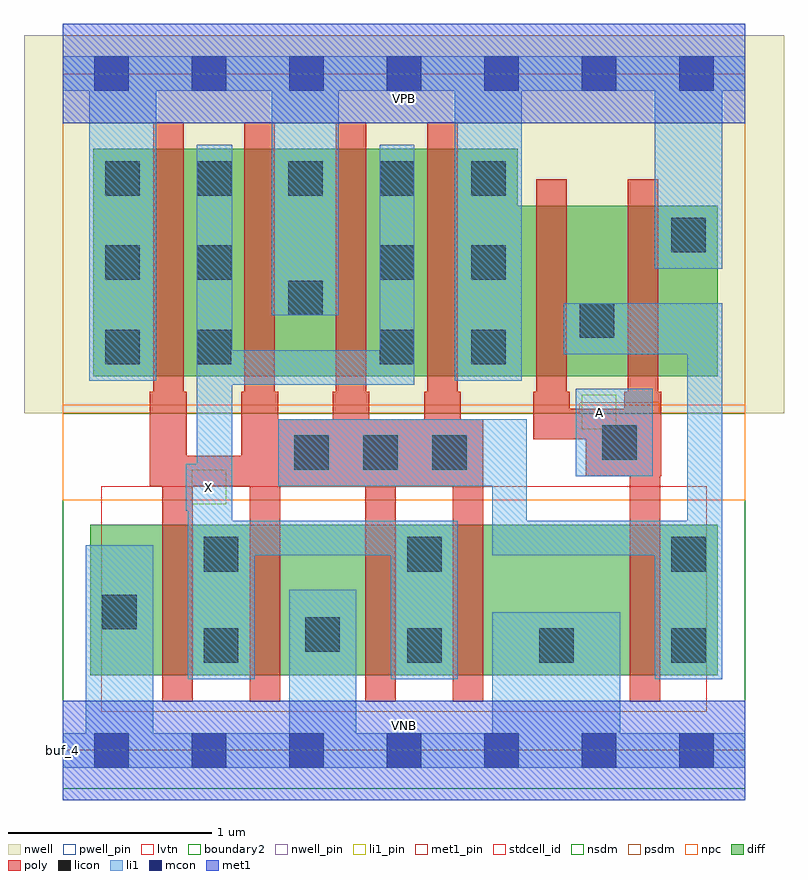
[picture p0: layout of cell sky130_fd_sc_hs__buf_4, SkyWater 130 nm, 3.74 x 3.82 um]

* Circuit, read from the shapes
.subckt sky130_fd_sc_hs__buf_4 A VGND VNB VPB VPWR X
XM1 X n1 VGND VNB sky130_fd_pr__nfet_01v8_lvt w=0.74 l=0.15 m=4
XM2 n1 A VGND VNB sky130_fd_pr__nfet_01v8_lvt w=0.74 l=0.15
XM3 X n1 VPWR VPB sky130_fd_pr__pfet_01v8 w=1.12 l=0.15 m=4
XM4 n1 A VPWR VPB sky130_fd_pr__pfet_01v8 w=0.84 l=0.15 m=2
.ends

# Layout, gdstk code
import gdstk
lib = gdstk.Library(unit=1e-6, precision=1e-09)
def R(c, l, rs):  # rectangles x0, y0, x1, y1
    for r in rs: c.add(gdstk.rectangle(r[:2], r[2:], *l))
def A(c, l, x, y, w, h, nx, ny, dx, dy):  # array of equal rectangles
    R(c, l, [(x+i*dx, y+j*dy, x+i*dx+w, y+j*dy+h) for i in range(nx) for j in range(ny)])
def P(c, l, *ps):  # polygons
    for p in ps: c.add(gdstk.Polygon(p, *l))
nwell_pin = (64, 16)
nwell = (64, 20)
diff = (65, 20)
poly = (66, 20)
licon = (66, 44)
li1_pin = (67, 16)
li1 = (67, 20)
mcon = (67, 44)
met1_pin = (68, 16)
met1 = (68, 20)
stdcell_id = (81, 4)
nsdm = (93, 44)
psdm = (94, 20)
npc = (95, 20)
pwell_pin = (122, 16)
lvtn = (125, 44)
boundary2 = (236, 0)

sky130_fd_sc_hs__buf_4 = lib.new_cell('sky130_fd_sc_hs__buf_4')
R(sky130_fd_sc_hs__buf_4, nwell_pin, [(0,3.085,3.36,3.33)])
R(sky130_fd_sc_hs__buf_4, nwell, [(-0.19,1.66,3.55,3.52)])
R(sky130_fd_sc_hs__buf_4, diff, [(0.135,0.37,3.225,1.11)])
P(sky130_fd_sc_hs__buf_4, diff, [(3.225,2.68),(2.24,2.68),(2.24,2.96),(0.15,2.96),(0.15,1.84),(3.225,1.84)])
P(sky130_fd_sc_hs__buf_4, poly, [(2.945,1.765),(2.93,1.765),(2.93,2.81),(2.78,2.81),(2.78,1.765),(2.765,1.765),(2.765,1.68),(2.495,1.68),(2.495,1.765),(2.48,1.765),(2.48,2.81),(2.33,2.81),(2.33,1.765),(2.315,1.765),(2.315,1.53),(2.575,1.53),(2.575,1.35),(2.79,1.35),(2.79,0.24),(2.94,0.24),(2.94,1.35),(2.945,1.35)],
  [(2.07,1.63),(1.96,1.63),(1.96,1.765),(1.945,1.765),(1.945,3.09),(1.795,3.09),(1.795,1.765),(1.78,1.765),(1.78,1.63),(1.51,1.63),(1.51,1.765),(1.495,1.765),(1.495,3.09),(1.345,3.09),(1.345,1.765),(1.33,1.765),(1.33,1.63),(1.06,1.63),(1.06,1.765),(1.045,1.765),(1.045,3.09),(0.895,3.09),(0.895,1.765),(0.88,1.765),(0.88,1.45),(0.61,1.45),(0.61,1.765),(0.595,1.765),(0.595,3.09),(0.445,3.09),(0.445,1.765),(0.43,1.765),(0.43,1.3),(0.49,1.3),(0.49,0.24),(0.64,0.24),(0.64,1.3),(0.92,1.3),(0.92,0.24),(1.07,0.24),(1.07,1.3),(1.49,1.3),(1.49,0.24),(1.64,0.24),(1.64,1.3),(1.92,1.3),(1.92,0.24),(2.07,0.24)])
A(sky130_fd_sc_hs__buf_4, licon, 1.695, 0.43, 0.17, 0.17, 3, 1, 0.65, 0)
A(sky130_fd_sc_hs__buf_4, licon, 1.14, 1.38, 0.17, 0.17, 3, 1, 0.34, 0)
A(sky130_fd_sc_hs__buf_4, licon, 0.21, 2.73, 0.17, 0.17, 5, 1, 0.45, 0)
R(sky130_fd_sc_hs__buf_4, licon, [(0.695,0.43,0.865,0.6), (1.195,0.485,1.365,0.655), (0.195,0.595,0.365,0.765), (0.695,0.88,0.865,1.05), (1.695,0.88,1.865,1.05), (2.995,0.88,3.165,1.05), (2.655,1.43,2.825,1.6), (0.21,1.9,0.38,2.07), (0.66,1.9,0.83,2.07), (1.56,1.9,1.73,2.07), (2.01,1.9,2.18,2.07), (2.545,2.03,2.715,2.2), (1.11,2.14,1.28,2.31), (0.21,2.315,0.38,2.485), (0.66,2.315,0.83,2.485), (1.56,2.315,1.73,2.485), (2.01,2.315,2.18,2.485), (2.995,2.45,3.165,2.62)])
R(sky130_fd_sc_hs__buf_4, li1_pin, [(0.635,1.21,0.805,1.38), (2.555,1.58,2.725,1.75)])
R(sky130_fd_sc_hs__buf_4, li1, [(2.525,1.35,2.905,1.78)])
P(sky130_fd_sc_hs__buf_4, li1, [(0,-0.085),(0,0.085),(0.115,0.085),(0.115,1.01),(0.445,1.01),(0.445,0.085),(1.115,0.085),(1.115,0.79),(1.445,0.79),(1.445,0.085),(2.115,0.085),(2.115,0.68),(2.745,0.68),(2.745,0.085),(3.36,0.085),(3.36,-0.085)],
  [(0,3.245),(0,3.415),(3.36,3.415),(3.36,3.245),(3.245,3.245),(3.245,2.37),(2.915,2.37),(2.915,3.245),(2.26,3.245),(2.26,1.82),(1.93,1.82),(1.93,3.245),(1.36,3.245),(1.36,2.14),(1.03,2.14),(1.03,3.245),(0.46,3.245),(0.46,1.82),(0.13,1.82),(0.13,3.245)],
  [(2.465,1.95),(2.465,2.2),(3.245,2.2),(3.245,0.35),(2.915,0.35),(2.915,0.96),(2.115,0.96),(2.115,1.3),(1.06,1.3),(1.06,1.63),(2.285,1.63),(2.285,1.13),(3.075,1.13),(3.075,1.95)],
  [(0.835,1.97),(1.56,1.97),(1.56,2.98),(1.73,2.98),(1.73,1.8),(0.835,1.8),(0.835,1.13),(1.945,1.13),(1.945,0.35),(1.615,0.35),(1.615,0.96),(0.945,0.96),(0.945,0.35),(0.615,0.35),(0.615,1.18),(0.605,1.18),(0.605,1.41),(0.66,1.41),(0.66,2.98),(0.835,2.98)])
A(sky130_fd_sc_hs__buf_4, mcon, 0.155, -0.085, 0.17, 0.17, 7, 2, 0.48, 3.33)
R(sky130_fd_sc_hs__buf_4, met1_pin, [(0,0,3.36,0.245), (0,3.085,3.36,3.33)])
R(sky130_fd_sc_hs__buf_4, met1, [(0,-0.245,3.36,0.245), (0,3.085,3.36,3.575)])
R(sky130_fd_sc_hs__buf_4, stdcell_id, [(0,0,3.36,3.33)])
R(sky130_fd_sc_hs__buf_4, nsdm, [(0,-0.19,3.36,1.66)])
P(sky130_fd_sc_hs__buf_4, psdm, [(3.36,3.52),(0,3.52),(0,1.66),(2.545,1.66),(2.545,1.71),(2.935,1.71),(2.935,1.66),(3.36,1.66)])
R(sky130_fd_sc_hs__buf_4, npc, [(0,1.23,3.36,1.7)])
R(sky130_fd_sc_hs__buf_4, pwell_pin, [(0,0,3.36,0.245)])
R(sky130_fd_sc_hs__buf_4, lvtn, [(0.19,0.19,3.17,1.3)])
R(sky130_fd_sc_hs__buf_4, boundary2, [(0,0,3.36,3.33)])
sky130_fd_sc_hs__buf_4.add(gdstk.Label('buf_4', (0,0), layer=83, texttype=44))
sky130_fd_sc_hs__buf_4.add(gdstk.Label('VNB', (1.68,0.123), layer=64, texttype=59))
sky130_fd_sc_hs__buf_4.add(gdstk.Label('VPB', (1.68,3.208), layer=64, texttype=5))
sky130_fd_sc_hs__buf_4.add(gdstk.Label('VPWR', (1.68,3.208), layer=68, texttype=5))
sky130_fd_sc_hs__buf_4.add(gdstk.Label('VGND', (1.68,0.123), layer=68, texttype=5))
sky130_fd_sc_hs__buf_4.add(gdstk.Label('A', (2.64,1.665), layer=67, texttype=5))
sky130_fd_sc_hs__buf_4.add(gdstk.Label('X', (0.72,1.295), layer=67, texttype=5))

lib.write_gds('sky130_fd_sc_hs__buf_4.gds')
